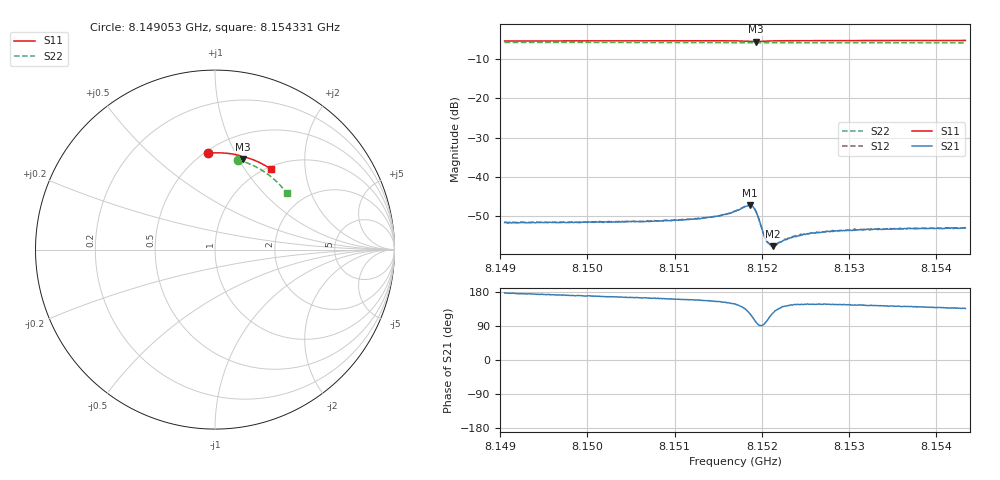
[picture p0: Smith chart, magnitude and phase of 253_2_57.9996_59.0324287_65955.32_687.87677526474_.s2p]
#  HZ  S  RI  R  50.00
! Rohde & Schwarz Vector Network Analyzer
! Rohde-Schwarz,ZNB20-2Port,1311601062101988,3.16
! Created: UTC 3/21/2024, 1:01:39 AM
! freq[Hz]  re:S11  im:S11  re:S21  im:S21  re:S12  im:S12  re:S22  im:S22
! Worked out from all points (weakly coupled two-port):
!   401 points, 8.149053 GHz to 8.154331 GHz, reference 50 ohm
!   highest |S21| = -47.22 dB at 8.151863 GHz (marker M1); lowest = -57.6 dB at 8.152127 GHz (marker M2)
!   lowest |S11| = -5.5 dB at 8.151929 GHz (marker M3), VSWR 3.24, Z = 37.3 + j52.2 ohm
!   |S11| at or under -10 dB: nowhere
!   |S22| runs from -5.9 to -5.7 dB; largest |S21 - S12| = 0.00011
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8.1490527e9  -0.0365 0.537  -0.00263 0.000138  -0.00265 0.000205  0.1263 0.5001
8.1499368e9  0.0255 0.5391  -0.00261 0.000469  -0.00265 0.0005  0.1809 0.4823
8.150821e9  0.0871 0.5341  -0.00262 0.000845  -0.00263 0.000862  0.2328 0.4582
8.151296e9  0.1204 0.5281  -0.00272 0.00113  -0.00275 0.00117  0.2595 0.4431
8.1515204e9  0.1367 0.5239  -0.00289 0.00141  -0.0029 0.00147  0.2717 0.4354
8.1516919e9  0.1496 0.519  -0.00312 0.00196  -0.00307 0.00203  0.2809 0.4291
8.1518107e9  0.1579 0.512  -0.00294 0.00301  -0.00294 0.00312  0.2871 0.4247
8.1518635e9  0.1592 0.5073  -0.00229 0.0037  -0.00226 0.00375  0.2897 0.4225
8.151903e9  0.1575 0.505  -0.00135 0.00387  -0.00129 0.00392  0.2917 0.421
8.1519294e9  0.1559 0.5049  -0.00069 0.00362  -0.000651 0.00366  0.2929 0.4202
8.1519558e9  0.1549 0.5064  -0.000207 0.00312  -0.00018 0.00315  0.2942 0.4192
8.1520218e9  0.1578 0.5111  -0.00012 0.00184  -0.000125 0.00184  0.2976 0.417
8.1520482e9  0.1601 0.5122  -0.000283 0.00154  -0.000271 0.00158  0.299 0.416
8.1520878e9  0.1636 0.5131  -0.000565 0.00129  -0.000536 0.0013  0.301 0.4145
8.1521274e9  0.1671 0.5132  -0.000739 0.00109  -0.000747 0.00114  0.3032 0.413
8.1521538e9  0.1693 0.5132  -0.000891 0.00105  -0.000886 0.00106  0.3046 0.412
8.1522725e9  0.179 0.5116  -0.00127 0.000978  -0.00128 0.000988  0.3105 0.4073
8.1523649e9  0.1858 0.5097  -0.00144 0.000971  -0.00143 0.00103  0.3153 0.4037
8.152576e9  0.2006 0.5049  -0.00163 0.00107  -0.00164 0.00105  0.3256 0.3948
8.1530379e9  0.2311 0.4929  -0.00171 0.00121  -0.00177 0.00122  0.3475 0.3751
8.1534602e9  0.2578 0.4803  -0.00172 0.00133  -0.00171 0.00135  0.3664 0.3559
8.1543311e9  0.31 0.4499  -0.00162 0.00157  -0.00159 0.00163  0.4018 0.3135
